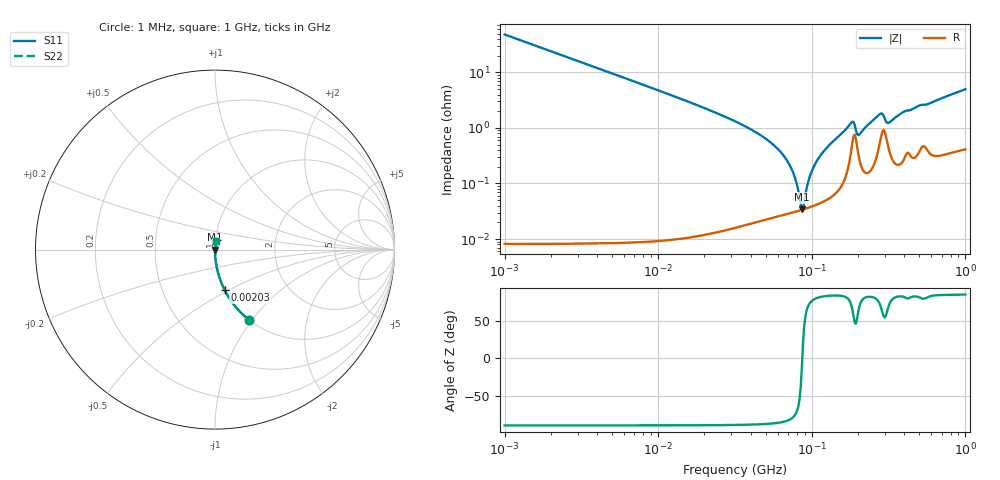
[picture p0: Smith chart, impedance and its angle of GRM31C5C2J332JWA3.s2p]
!Murata Part Number: GRM31C5C2J332JWA3
!These Parameters are Measured in Series Mode Connection
!Data Generated on Mar 30, 2021
!  o--ll--o
!Port1  Port2
!  o------o
!Operation Temp=25[degC], DC Bias Voltage=0[V]
!Freq. Start=1000[kHz] Stop=1000[MHz] 401[Steps]
# Hz S RI R 50
!Freq.(Hz) S11(Real) S11(Imag) S21(Real) S21(Imag) S12(Real) S12(Imag) S22(Real) S22(Imag)
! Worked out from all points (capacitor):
!   401 points, 1 MHz to 1 GHz, reference 50 ohm
!   read as one part in series: C = 3.3 nF near 1.035 MHz
!   lowest |Z| = 34.5 mohm at 86.1 MHz (marker M1)
!   series resonance near 86.72 MHz, so ESL is about 1 nH
!   S11 on the Smith chart (normalised r, x): 1 MHz: 1.00, -0.96; 2.03 MHz: 1.00, -0.47; 1 GHz: 1.01, +0.10
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1000000  0.1887 -0.3912  0.8113 0.3912  0.8113 0.3912  0.1887 -0.3912
2030019  0.0534 -0.2247  0.9466 0.2247  0.9466 0.2247  0.0534 -0.2247
3180534  0.0225 -0.148  0.9775 0.148  0.9775 0.148  0.0225 -0.148
1.01158e7  0.0023 -0.0469  0.9977 0.0469  0.9977 0.0469  0.0023 -0.0469
3.162278e7  0.000332 -0.0132  0.9997 0.0132  0.9997 0.0132  0.000332 -0.0132
4.869675e7  0.000263 -0.00676  0.9997 0.00676  0.9997 0.00676  0.000263 -0.00676
6.419482e7  0.000278 -0.0034  0.9997 0.0034  0.9997 0.0034  0.000278 -0.0034
7.498942e7  0.000302 -0.00163  0.9997 0.00163  0.9997 0.00163  0.000302 -0.00163
7.897688e7  0.000313 -0.00105  0.9997 0.00105  0.9997 0.00105  0.000313 -0.00105
8.462526e7  0.000331 -0.000274  0.9997 0.000274  0.9997 0.000274  0.000331 -0.000274
8.609938e7  0.000335 -8.03e-05  0.9997 8.03e-05  0.9997 8.03e-05  0.000335 -8.03e-05
8.912509e7  0.000346 0.000308  0.9997 -0.000308  0.9997 -0.000308  0.000346 0.000308
9.549926e7  0.000369 0.00109  0.9996 -0.00109  0.9996 -0.00109  0.000369 0.00109
1.005773e8  0.00039 0.00169  0.9996 -0.00169  0.9996 -0.00169  0.00039 0.00169
1.195364e8  0.000487 0.00377  0.9995 -0.00377  0.9995 -0.00377  0.000487 0.00377
1.809256e8  0.00421 0.0117  0.9958 -0.0117  0.9958 -0.0117  0.00421 0.0117
1.872837e8  0.00731 0.0104  0.9927 -0.0104  0.9927 -0.0104  0.00731 0.0104
2.041738e8  0.00273 0.00714  0.9973 -0.00714  0.9973 -0.00714  0.00273 0.00714
2.786121e8  0.00601 0.0168  0.994 -0.0168  0.994 -0.0168  0.00601 0.0168
3.198895e8  0.00393 0.0118  0.9961 -0.0118  0.9961 -0.0118  0.00393 0.0118
4.004055e8  0.00318 0.0195  0.9968 -0.0195  0.9968 -0.0195  0.00318 0.0195
1e9  0.00652 0.0491  0.9935 -0.0491  0.9935 -0.0491  0.00652 0.0491
